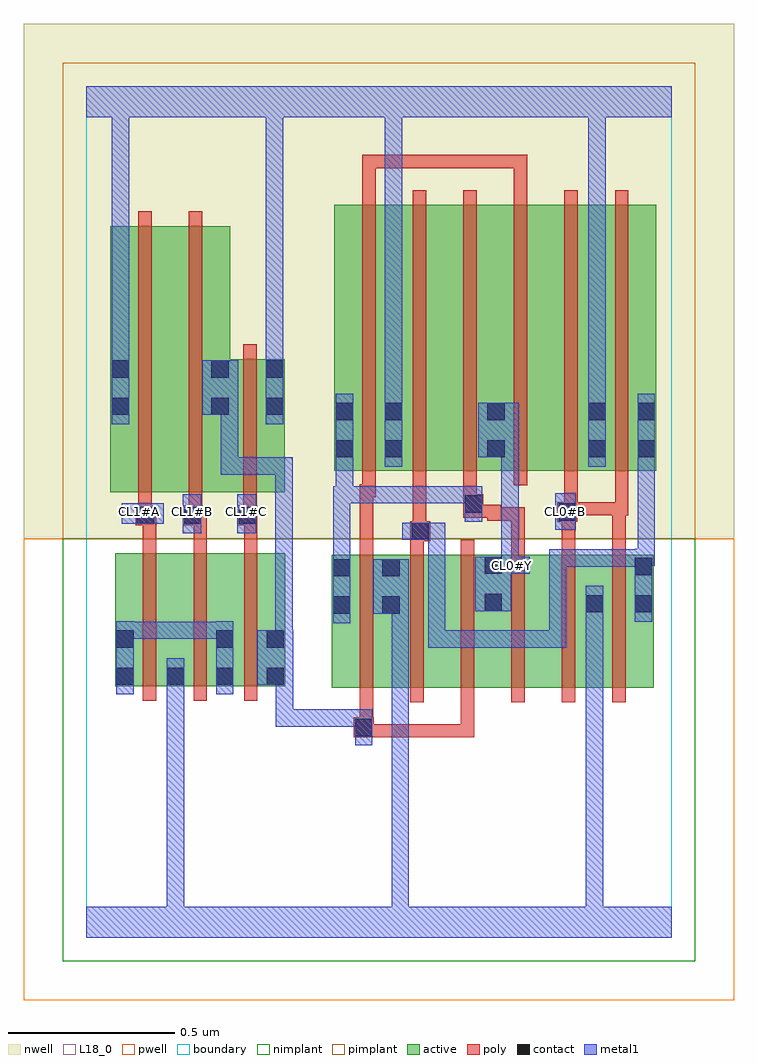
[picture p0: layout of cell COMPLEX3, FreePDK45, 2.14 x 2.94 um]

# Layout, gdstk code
import gdstk
lib = gdstk.Library(unit=1e-6, precision=1e-09)
def R(c, l, rs):  # rectangles x0, y0, x1, y1
    for r in rs: c.add(gdstk.rectangle(r[:2], r[2:], *l))
def A(c, l, x, y, w, h, nx, ny, dx, dy):  # array of equal rectangles
    R(c, l, [(x+i*dx, y+j*dy, x+i*dx+w, y+j*dy+h) for i in range(nx) for j in range(ny)])
active = (1, 0)
pwell = (2, 0)
nwell = (3, 0)
nimplant = (4, 0)
pimplant = (5, 0)
poly = (9, 0)
contact = (10, 0)
metal1 = (11, 0)
L18_0 = (18, 0)
boundary = (235, 0)

complex3 = lib.new_cell('COMPLEX3')
R(complex3, active, [(0.738,0.752,0.798,1.152), (0.738,0.752,0.946,1.152), (0.886,0.752,0.946,1.152), (0.886,0.752,1.07,1.152), (1.07,0.752,1.254,1.152), (1.194,0.752,1.374,1.152), (1.374,0.752,1.558,1.152), (1.498,0.752,1.706,1.152), (1.646,0.752,1.706,1.152), (0.086,0.756,0.146,1.156), (0.086,0.756,0.298,1.156), (0.238,0.756,0.446,1.156), (0.238,0.756,0.298,0.816), (0.386,0.756,0.446,1.156), (0.386,0.756,0.598,1.156), (0.538,0.756,0.598,1.156), (1.194,0.756,1.254,1.15), (1.498,0.756,1.558,1.034), (0.072,1.34,0.132,2.14), (0.072,1.34,0.252,2.14), (0.252,1.34,0.432,2.14), (0.372,1.34,0.596,1.74), (0.536,1.34,0.596,1.74), (0.372,1.388,0.432,2.096), (0.746,1.404,0.954,2.204), (0.746,1.404,0.806,2.204), (0.894,1.404,0.954,2.044), (0.894,1.404,1.078,2.204), (1.078,1.404,1.262,2.204), (1.202,1.404,1.262,2.204), (1.202,1.404,1.382,2.204), (1.382,1.404,1.566,2.204), (1.506,1.404,1.714,2.204), (1.506,1.404,1.566,2.204), (1.654,1.404,1.714,2.044)])
R(complex3, pwell, [(-0.188,-0.188,1.948,1.2)])
R(complex3, nwell, [(-0.188,1.2,1.948,2.748)])
R(complex3, nimplant, [(-0.072,-0.072,1.832,1.2)])
R(complex3, pimplant, [(-0.072,1.2,1.832,2.632)])
A(complex3, poly, 0.822, 0.708, 0.04, 0.488, 6, 1, 0.152, 0)
A(complex3, poly, 0.17, 0.712, 0.04, 0.488, 3, 1, 0.152, 0)
A(complex3, poly, 0.17, 1.16, 0.04, 0.12, 3, 1, 0.152, 0)
A(complex3, poly, 0.83, 1.36, 0.04, 0.888, 6, 1, 0.152, 0)
R(complex3, poly, [(0.804,0.602,0.864,0.662), (0.824,0.602,0.864,0.642), (0.824,0.602,0.864,0.642), (0.824,0.602,0.976,0.642), (0.936,0.602,0.976,0.642), (0.936,0.602,0.976,0.642), (0.936,0.602,0.976,0.642), (0.936,0.602,1.166,0.642), (1.126,0.602,1.166,0.642), (1.126,0.602,1.166,0.748), (0.822,0.622,0.862,0.748), (0.822,1.156,0.862,1.364), (0.974,1.156,1.014,1.232), (1.278,1.156,1.318,1.294), (1.43,1.156,1.47,1.29), (1.582,1.156,1.622,1.31), (0.974,1.192,1.034,1.252), (0.982,1.212,1.022,1.252), (0.982,1.212,1.022,1.252), (0.982,1.212,1.022,1.4), (0.148,1.24,0.21,1.3), (0.29,1.24,0.35,1.3), (0.31,1.24,0.35,1.28), (0.31,1.24,0.362,1.28), (0.454,1.24,0.514,1.3), (1.416,1.25,1.476,1.31), (1.206,1.254,1.318,1.294), (1.206,1.254,1.246,1.302), (1.278,1.254,1.318,1.294), (1.278,1.254,1.318,1.294), (1.278,1.254,1.318,1.294), (0.156,1.26,0.196,1.3), (0.156,1.26,0.196,1.3), (0.156,1.26,0.196,1.336), (0.308,1.26,0.348,1.336), (0.472,1.26,0.512,1.3), (0.472,1.26,0.512,1.3), (0.472,1.26,0.512,1.336), (1.134,1.262,1.194,1.334), (1.154,1.262,1.246,1.302), (1.436,1.27,1.476,1.31), (1.436,1.27,1.478,1.31), (1.438,1.27,1.478,1.4), (1.438,1.27,1.622,1.31), (1.582,1.27,1.622,1.31), (1.582,1.27,1.622,1.31), (1.582,1.27,1.622,1.31), (1.582,1.27,1.622,1.31), (1.582,1.27,1.63,1.31), (1.59,1.27,1.63,1.4), (1.134,1.294,1.174,1.4), (0.156,1.296,0.196,2.184), (0.308,1.296,0.348,2.184), (0.472,1.296,0.512,1.784), (0.822,1.324,0.87,1.364), (0.83,1.324,0.87,1.364), (0.83,1.324,0.87,1.364), (0.83,1.324,0.87,1.4), (0.83,2.208,0.87,2.354), (1.286,2.208,1.326,2.354), (0.83,2.314,0.87,2.354), (0.83,2.314,0.87,2.354), (0.83,2.314,0.87,2.354), (0.83,2.314,0.976,2.354), (0.936,2.314,0.976,2.354), (0.936,2.314,0.976,2.354), (0.936,2.314,0.976,2.354), (0.936,2.314,1.212,2.354), (1.172,2.314,1.212,2.354), (1.172,2.314,1.212,2.354), (1.172,2.314,1.212,2.354), (1.172,2.314,1.326,2.354), (1.286,2.314,1.326,2.354)])
R(complex3, contact, [(0.808,0.606,0.86,0.658), (0.09,0.76,0.142,0.812), (0.242,0.76,0.294,0.812), (0.39,0.76,0.442,0.812), (0.542,0.76,0.594,0.812), (0.09,0.872,0.142,0.924), (0.39,0.872,0.442,0.924), (0.542,0.872,0.594,0.924), (0.742,0.974,0.794,1.026), (0.89,0.974,0.942,1.026), (1.502,0.978,1.554,1.03), (1.65,0.978,1.702,1.03), (1.198,0.982,1.25,1.034), (0.742,1.086,0.794,1.138), (0.89,1.086,0.942,1.138), (1.65,1.09,1.702,1.142), (1.198,1.094,1.25,1.146), (0.978,1.196,1.03,1.248), (0.152,1.244,0.204,1.296), (0.294,1.244,0.346,1.296), (0.458,1.244,0.51,1.296), (1.42,1.254,1.472,1.306), (1.138,1.278,1.19,1.33), (0.75,1.444,0.802,1.496), (0.898,1.444,0.95,1.496), (1.206,1.444,1.258,1.496), (1.51,1.444,1.562,1.496), (1.658,1.444,1.71,1.496), (0.75,1.556,0.802,1.608), (0.898,1.556,0.95,1.608), (1.206,1.556,1.258,1.608), (1.51,1.556,1.562,1.608), (1.658,1.556,1.71,1.608), (0.076,1.572,0.128,1.624), (0.376,1.572,0.428,1.624), (0.54,1.572,0.592,1.624), (0.076,1.684,0.128,1.736), (0.376,1.684,0.428,1.736), (0.54,1.684,0.592,1.736)])
R(complex3, metal1, [(0,0,1.76,0.092), (0.242,0.04,0.294,0.092), (0.242,0.04,0.294,0.092), (0.242,0.04,0.294,0.092), (0.242,0.04,0.294,0.092), (0.242,0.04,0.294,0.092), (0.242,0.04,0.294,0.092), (0.242,0.04,0.294,0.092), (0.242,0.04,0.294,0.092), (0.242,0.04,0.294,0.092), (0.242,0.04,0.294,0.092), (0.242,0.04,0.294,0.092), (0.242,0.04,0.294,0.092), (0.242,0.04,0.294,0.784), (0.918,0.04,0.97,0.092), (0.918,0.04,0.97,0.092), (0.918,0.04,0.97,0.092), (0.918,0.04,0.97,0.092), (0.918,0.04,0.97,0.092), (0.918,0.04,0.97,0.092), (0.918,0.04,0.97,0.092), (0.918,0.04,0.97,0.092), (0.918,0.04,0.97,0.092), (0.918,0.04,0.97,0.092), (0.918,0.04,0.97,1.026), (1.502,0.04,1.554,0.092), (1.502,0.04,1.554,0.092), (1.502,0.04,1.554,0.092), (1.502,0.04,1.554,0.092), (1.502,0.04,1.554,0.092), (1.502,0.04,1.554,0.092), (1.502,0.04,1.554,0.092), (1.502,0.04,1.554,0.092), (1.502,0.04,1.554,0.092), (1.502,0.04,1.554,0.092), (1.502,0.04,1.554,0.092), (1.502,0.04,1.554,0.092), (1.502,0.04,1.554,1.002), (0.808,0.578,0.86,0.686), (0.57,0.634,0.622,0.686), (0.57,0.634,0.622,0.686), (0.57,0.634,0.622,0.686), (0.57,0.634,0.622,0.686), (0.57,0.634,0.622,0.686), (0.57,0.634,0.86,0.686), (0.57,0.634,0.622,0.812), (0.09,0.732,0.142,0.952), (0.242,0.732,0.294,0.84), (0.39,0.732,0.442,0.952), (0.514,0.76,0.622,0.924), (0.57,0.76,0.622,0.812), (0.57,0.76,0.622,0.812), (0.57,0.76,0.622,0.812), (0.57,0.76,0.622,0.812), (0.568,0.872,0.62,0.924), (0.568,0.872,0.62,0.924), (0.568,0.872,0.62,1.444), (1.028,0.872,1.08,0.924), (1.028,0.872,1.224,0.924), (1.028,0.872,1.08,1.192), (1.172,0.872,1.224,0.924), (1.172,0.872,1.334,0.924), (1.282,0.872,1.334,0.924), (1.282,0.872,1.334,0.924), (1.282,0.872,1.334,0.924), (1.282,0.872,1.444,0.924), (1.392,0.872,1.444,0.924), (1.392,0.872,1.444,1.168), (0.09,0.898,0.142,0.95), (0.09,0.898,0.142,0.95), (0.09,0.898,0.252,0.95), (0.2,0.898,0.252,0.95), (0.2,0.898,0.252,0.95), (0.2,0.898,0.252,0.95), (0.2,0.898,0.442,0.95), (0.742,0.946,0.794,1.166), (1.502,0.95,1.554,1.058), (1.65,0.95,1.702,1.17), (0.862,0.974,0.97,1.138), (0.918,0.974,0.97,1.026), (0.918,0.974,0.97,1.026), (1.17,0.982,1.278,1.146), (1.226,1.094,1.278,1.146), (1.226,1.094,1.334,1.146), (1.248,1.094,1.3,1.146), (1.248,1.094,1.3,1.146), (1.248,1.094,1.3,1.496), (0.742,1.114,0.794,1.358), (1.392,1.116,1.444,1.168), (1.392,1.116,1.592,1.168), (1.54,1.116,1.592,1.168), (1.54,1.116,1.592,1.168), (1.54,1.116,1.592,1.168), (1.54,1.116,1.702,1.168), (1.65,1.116,1.702,1.168), (1.65,1.116,1.702,1.168), (1.65,1.118,1.702,1.17), (1.65,1.118,1.702,1.17), (1.65,1.118,1.702,1.17), (1.65,1.118,1.71,1.17), (1.658,1.118,1.71,1.468), (1.028,1.14,1.08,1.192), (1.028,1.14,1.08,1.248), (0.95,1.196,1.058,1.248), (1.006,1.196,1.08,1.248), (1.028,1.196,1.08,1.248), (0.29,1.216,0.346,1.334), (0.454,1.216,0.51,1.334), (1.41,1.226,1.472,1.336), (0.106,1.244,0.232,1.306), (1.138,1.25,1.19,1.358), (0.742,1.306,0.794,1.358), (0.742,1.306,0.794,1.358), (0.742,1.306,0.802,1.358), (0.75,1.306,0.802,1.358), (0.75,1.306,0.802,1.358), (0.75,1.306,0.912,1.358), (0.75,1.306,0.802,1.468), (0.86,1.306,0.912,1.358), (0.86,1.306,1.08,1.358), (1.028,1.306,1.08,1.358), (1.028,1.306,1.08,1.358), (1.028,1.306,1.08,1.358), (1.028,1.306,1.19,1.358), (0.404,1.392,0.456,1.444), (0.404,1.392,0.456,1.444), (0.404,1.392,0.456,1.444), (0.404,1.392,0.62,1.444), (0.404,1.392,0.456,1.624), (0.568,1.392,0.62,1.444), (0.75,1.416,0.802,1.636), (0.898,1.416,0.95,1.636), (1.51,1.416,1.562,1.636), (1.658,1.416,1.71,1.636), (1.178,1.444,1.3,1.608), (0.076,1.544,0.128,1.764), (0.54,1.544,0.592,1.764), (0.348,1.572,0.456,1.736), (0.898,1.584,0.95,2.52), (1.51,1.584,1.562,2.52), (0.076,1.712,0.128,2.52), (0.54,1.712,0.592,2.52), (0,2.468,1.76,2.56), (0.076,2.468,0.128,2.52), (0.076,2.468,0.128,2.52), (0.076,2.468,0.128,2.52), (0.076,2.468,0.128,2.52), (0.076,2.468,0.128,2.52), (0.076,2.468,0.128,2.52), (0.076,2.468,0.128,2.52), (0.076,2.468,0.128,2.52), (0.54,2.468,0.592,2.52), (0.54,2.468,0.592,2.52), (0.54,2.468,0.592,2.52), (0.54,2.468,0.592,2.52), (0.54,2.468,0.592,2.52), (0.54,2.468,0.592,2.52), (0.54,2.468,0.592,2.52), (0.54,2.468,0.592,2.52), (0.54,2.468,0.592,2.52), (0.54,2.468,0.592,2.52), (0.54,2.468,0.592,2.52), (0.54,2.468,0.592,2.52), (0.54,2.468,0.592,2.52), (0.54,2.468,0.592,2.52), (0.54,2.468,0.592,2.52), (0.54,2.468,0.592,2.52), (0.898,2.468,0.95,2.52), (0.898,2.468,0.95,2.52), (0.898,2.468,0.95,2.52), (0.898,2.468,0.95,2.52), (0.898,2.468,0.95,2.52), (0.898,2.468,0.95,2.52), (0.898,2.468,0.95,2.52), (0.898,2.468,0.95,2.52), (1.51,2.468,1.562,2.52), (1.51,2.468,1.562,2.52), (1.51,2.468,1.562,2.52), (1.51,2.468,1.562,2.52), (1.51,2.468,1.562,2.52), (1.51,2.468,1.562,2.52), (1.51,2.468,1.562,2.52), (1.51,2.468,1.562,2.52)])
A(complex3, L18_0, 0.134, 1.254, 0.052, 0.052, 3, 1, 0.16, 0)
R(complex3, L18_0, [(0,0,1.76,0.092), (0.242,0.04,0.294,0.092), (0.242,0.04,0.294,0.092), (0.242,0.04,0.294,0.092), (0.242,0.04,0.294,0.092), (0.242,0.04,0.294,0.092), (0.242,0.04,0.294,0.092), (0.242,0.04,0.294,0.092), (0.242,0.04,0.294,0.092), (0.242,0.04,0.294,0.092), (0.242,0.04,0.294,0.092), (0.242,0.04,0.294,0.092), (0.242,0.04,0.294,0.092), (0.242,0.04,0.294,0.784), (0.918,0.04,0.97,0.092), (0.918,0.04,0.97,0.092), (0.918,0.04,0.97,0.092), (0.918,0.04,0.97,0.092), (0.918,0.04,0.97,0.092), (0.918,0.04,0.97,0.092), (0.918,0.04,0.97,0.092), (0.918,0.04,0.97,0.092), (0.918,0.04,0.97,0.092), (0.918,0.04,0.97,0.092), (0.918,0.04,0.97,1.026), (1.502,0.04,1.554,0.092), (1.502,0.04,1.554,0.092), (1.502,0.04,1.554,0.092), (1.502,0.04,1.554,0.092), (1.502,0.04,1.554,0.092), (1.502,0.04,1.554,0.092), (1.502,0.04,1.554,0.092), (1.502,0.04,1.554,0.092), (1.502,0.04,1.554,0.092), (1.502,0.04,1.554,0.092), (1.502,0.04,1.554,0.092), (1.502,0.04,1.554,0.092), (1.502,0.04,1.554,1.002), (0.242,0.732,0.294,0.84), (1.502,0.95,1.554,1.058), (0.862,0.974,0.97,1.138), (0.918,0.974,0.97,1.026), (0.918,0.974,0.97,1.026), (1.17,0.982,1.278,1.146), (1.226,1.094,1.278,1.146), (1.226,1.094,1.334,1.146), (1.248,1.094,1.3,1.146), (1.248,1.094,1.3,1.146), (1.248,1.094,1.3,1.496), (1.254,1.094,1.306,1.146), (0.29,1.216,0.346,1.334), (0.454,1.216,0.51,1.334), (1.41,1.226,1.472,1.336), (0.106,1.244,0.232,1.306), (1.414,1.254,1.466,1.306), (0.898,1.416,0.95,1.636), (1.51,1.416,1.562,1.636), (1.178,1.444,1.3,1.608), (0.076,1.544,0.128,1.764), (0.54,1.544,0.592,1.764), (0.898,1.584,0.95,2.52), (1.51,1.584,1.562,2.52), (0.076,1.712,0.128,2.52), (0.54,1.712,0.592,2.52), (0,2.468,1.76,2.56), (0.076,2.468,0.128,2.52), (0.076,2.468,0.128,2.52), (0.076,2.468,0.128,2.52), (0.076,2.468,0.128,2.52), (0.076,2.468,0.128,2.52), (0.076,2.468,0.128,2.52), (0.076,2.468,0.128,2.52), (0.076,2.468,0.128,2.52), (0.54,2.468,0.592,2.52), (0.54,2.468,0.592,2.52), (0.54,2.468,0.592,2.52), (0.54,2.468,0.592,2.52), (0.54,2.468,0.592,2.52), (0.54,2.468,0.592,2.52), (0.54,2.468,0.592,2.52), (0.54,2.468,0.592,2.52), (0.54,2.468,0.592,2.52), (0.54,2.468,0.592,2.52), (0.54,2.468,0.592,2.52), (0.54,2.468,0.592,2.52), (0.54,2.468,0.592,2.52), (0.54,2.468,0.592,2.52), (0.54,2.468,0.592,2.52), (0.54,2.468,0.592,2.52), (0.898,2.468,0.95,2.52), (0.898,2.468,0.95,2.52), (0.898,2.468,0.95,2.52), (0.898,2.468,0.95,2.52), (0.898,2.468,0.95,2.52), (0.898,2.468,0.95,2.52), (0.898,2.468,0.95,2.52), (0.898,2.468,0.95,2.52), (1.51,2.468,1.562,2.52), (1.51,2.468,1.562,2.52), (1.51,2.468,1.562,2.52), (1.51,2.468,1.562,2.52), (1.51,2.468,1.562,2.52), (1.51,2.468,1.562,2.52), (1.51,2.468,1.562,2.52), (1.51,2.468,1.562,2.52)])
R(complex3, boundary, [(0,0,1.76,2.56)])
complex3.add(gdstk.Label('CL0#B', (1.44,1.28), layer=11, texttype=0))
complex3.add(gdstk.Label('CL0#Y', (1.28,1.12), layer=11, texttype=0))
complex3.add(gdstk.Label('CL1#A', (0.16,1.28), layer=11, texttype=0))
complex3.add(gdstk.Label('CL1#B', (0.32,1.28), layer=11, texttype=0))
complex3.add(gdstk.Label('CL1#C', (0.48,1.28), layer=11, texttype=0))

lib.write_gds('COMPLEX3.gds')
